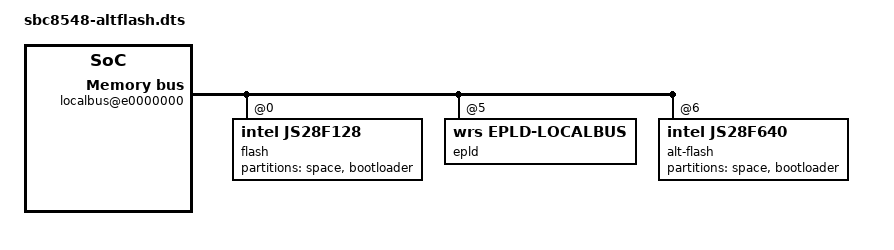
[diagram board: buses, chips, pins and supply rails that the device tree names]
/*
 * SBC8548 Device Tree Source
 *
 * Configured for booting off the alternate (64MB SODIMM) flash.
 * Requires switching JP12 jumpers and changing SW2.8 setting.
 *
 * Copyright 2013 Wind River Systems Inc.
 *
 * Paul Gortmaker (see MAINTAINERS for contact information)
 *
 * This program is free software; you can redistribute  it and/or modify it
 * under  the terms of  the GNU General  Public License as published by the
 * Free Software Foundation;  either version 2 of the  License, or (at your
 * option) any later version.
 */


/dts-v1/;

/include/ "sbc8548-pre.dtsi"

/{
	localbus@e0000000 {
		#address-cells = <2>;
		#size-cells = <1>;
		compatible = "simple-bus";
		reg = <0xe0000000 0x5000>;
		interrupt-parent = <&mpic>;

		ranges = <0x0 0x0 0xfc000000 0x04000000		/*64MB Flash*/
			  0x3 0x0 0xf0000000 0x04000000		/*64MB SDRAM*/
			  0x4 0x0 0xf4000000 0x04000000 	/*64MB SDRAM*/
			  0x5 0x0 0xf8000000 0x00b10000		/* EPLD */
			  0x6 0x0 0xef800000 0x00800000>;	/*8MB Flash*/

		flash@0,0 {
			#address-cells = <1>;
			#size-cells = <1>;
			reg = <0x0 0x0 0x04000000>;
			compatible = "intel,JS28F128", "cfi-flash";
			bank-width = <4>;
			device-width = <1>;
			partition@0 {
				label = "space";
				/* FC000000 -> FFEFFFFF */
				reg = <0x00000000 0x03f00000>;
			};
			partition@3f00000 {
				label = "bootloader";
				/* FFF00000 -> FFFFFFFF */
				reg = <0x03f00000 0x00100000>;
				read-only;
			};
                };


		epld@5,0 {
			compatible = "wrs,epld-localbus";
			#address-cells = <2>;
			#size-cells = <1>;
			reg = <0x5 0x0 0x00b10000>;
			ranges = <
				0x0 0x0 0x5 0x000000 0x1fff	/* LED */
				0x1 0x0 0x5 0x100000 0x1fff	/* Switches */
				0x3 0x0 0x5 0x300000 0x1fff	/* HW Rev. */
				0xb 0x0	0x5 0xb00000 0x1fff	/* EEPROM */
			>;

			led@0,0 {
				compatible = "led";
				reg = <0x0 0x0 0x1fff>;
			};

			switches@1,0 {
				compatible = "switches";
				reg = <0x1 0x0 0x1fff>;
			};

			hw-rev@3,0 {
				compatible = "hw-rev";
				reg = <0x3 0x0 0x1fff>;
			};

			eeprom@b,0 {
				compatible = "eeprom";
				reg = <0xb 0 0x1fff>;
			};

		};

		alt-flash@6,0 {
			#address-cells = <1>;
			#size-cells = <1>;
			compatible = "intel,JS28F640", "cfi-flash";
			reg = <0x6 0x0 0x800000>;
			bank-width = <1>;
			device-width = <1>;
			partition@0 {
				label = "space";
				/* EF800000 -> EFF9FFFF */
				reg = <0x00000000 0x007a0000>;
			};
			partition@7a0000 {
				label = "bootloader";
				/* EFFA0000 -> EFFFFFFF */
				reg = <0x007a0000 0x00060000>;
				read-only;
			};
		};


        };
};

/include/ "sbc8548-post.dtsi"
